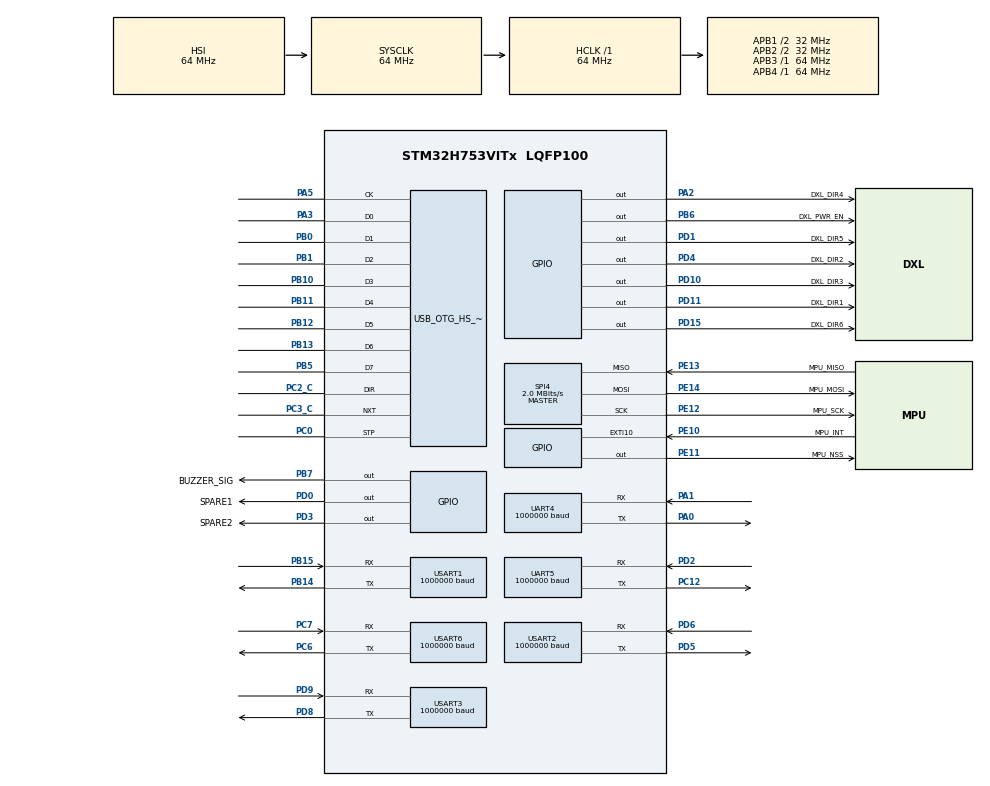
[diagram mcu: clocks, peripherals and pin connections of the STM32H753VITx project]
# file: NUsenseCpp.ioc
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Dma.Request0=USART1_RX
Dma.Request1=USART1_TX
Dma.Request10=USART6_RX
Dma.Request11=USART6_TX
Dma.Request2=USART2_RX
Dma.Request3=USART2_TX
Dma.Request4=USART3_RX
Dma.Request5=USART3_TX
Dma.Request6=UART4_RX
Dma.Request7=UART4_TX
Dma.Request8=UART5_RX
Dma.Request9=UART5_TX
Dma.UART4_RX.6.Direction=DMA_PERIPH_TO_MEMORY
Dma.UART4_RX.6.EventEnable=DISABLE
Dma.UART4_RX.6.FIFOMode=DMA_FIFOMODE_DISABLE
Dma.UART4_RX.6.Instance=DMA1_Stream6
Dma.UART4_RX.6.MemDataAlignment=DMA_MDATAALIGN_BYTE
Dma.UART4_RX.6.MemInc=DMA_MINC_ENABLE
Dma.UART4_RX.6.Mode=DMA_CIRCULAR
Dma.UART4_RX.6.PeriphDataAlignment=DMA_PDATAALIGN_BYTE
Dma.UART4_RX.6.PeriphInc=DMA_PINC_DISABLE
Dma.UART4_RX.6.Polarity=HAL_DMAMUX_REQ_GEN_RISING
Dma.UART4_RX.6.Priority=DMA_PRIORITY_HIGH
Dma.UART4_RX.6.RequestNumber=1
Dma.UART4_RX.6.SignalID=NONE
Dma.UART4_RX.6.SyncEnable=DISABLE
Dma.UART4_RX.6.SyncPolarity=HAL_DMAMUX_SYNC_NO_EVENT
Dma.UART4_RX.6.SyncRequestNumber=1
Dma.UART4_RX.6.SyncSignalID=NONE
Dma.UART4_TX.7.Direction=DMA_MEMORY_TO_PERIPH
Dma.UART4_TX.7.EventEnable=DISABLE
Dma.UART4_TX.7.FIFOMode=DMA_FIFOMODE_DISABLE
Dma.UART4_TX.7.Instance=DMA1_Stream7
Dma.UART4_TX.7.MemDataAlignment=DMA_MDATAALIGN_BYTE
Dma.UART4_TX.7.MemInc=DMA_MINC_ENABLE
Dma.UART4_TX.7.Mode=DMA_NORMAL
Dma.UART4_TX.7.PeriphDataAlignment=DMA_PDATAALIGN_BYTE
Dma.UART4_TX.7.PeriphInc=DMA_PINC_DISABLE
Dma.UART4_TX.7.Polarity=HAL_DMAMUX_REQ_GEN_RISING
Dma.UART4_TX.7.Priority=DMA_PRIORITY_HIGH
Dma.UART4_TX.7.RequestNumber=1
Dma.UART4_TX.7.SignalID=NONE
Dma.UART4_TX.7.SyncEnable=DISABLE
Dma.UART4_TX.7.SyncPolarity=HAL_DMAMUX_SYNC_NO_EVENT
Dma.UART4_TX.7.SyncRequestNumber=1
Dma.UART4_TX.7.SyncSignalID=NONE
Dma.UART5_RX.8.Direction=DMA_PERIPH_TO_MEMORY
Dma.UART5_RX.8.EventEnable=DISABLE
Dma.UART5_RX.8.FIFOMode=DMA_FIFOMODE_DISABLE
Dma.UART5_RX.8.Instance=DMA2_Stream0
Dma.UART5_RX.8.MemDataAlignment=DMA_MDATAALIGN_BYTE
Dma.UART5_RX.8.MemInc=DMA_MINC_ENABLE
Dma.UART5_RX.8.Mode=DMA_CIRCULAR
Dma.UART5_RX.8.PeriphDataAlignment=DMA_PDATAALIGN_BYTE
Dma.UART5_RX.8.PeriphInc=DMA_PINC_DISABLE
Dma.UART5_RX.8.Polarity=HAL_DMAMUX_REQ_GEN_RISING
Dma.UART5_RX.8.Priority=DMA_PRIORITY_HIGH
Dma.UART5_RX.8.RequestNumber=1
Dma.UART5_RX.8.SignalID=NONE
Dma.UART5_RX.8.SyncEnable=DISABLE
Dma.UART5_RX.8.SyncPolarity=HAL_DMAMUX_SYNC_NO_EVENT
Dma.UART5_RX.8.SyncRequestNumber=1
Dma.UART5_RX.8.SyncSignalID=NONE
Dma.UART5_TX.9.Direction=DMA_MEMORY_TO_PERIPH
Dma.UART5_TX.9.EventEnable=DISABLE
Dma.UART5_TX.9.FIFOMode=DMA_FIFOMODE_DISABLE
Dma.UART5_TX.9.Instance=DMA2_Stream1
Dma.UART5_TX.9.MemDataAlignment=DMA_MDATAALIGN_BYTE
Dma.UART5_TX.9.MemInc=DMA_MINC_ENABLE
Dma.UART5_TX.9.Mode=DMA_NORMAL
Dma.UART5_TX.9.PeriphDataAlignment=DMA_PDATAALIGN_BYTE
Dma.UART5_TX.9.PeriphInc=DMA_PINC_DISABLE
Dma.UART5_TX.9.Polarity=HAL_DMAMUX_REQ_GEN_RISING
Dma.UART5_TX.9.Priority=DMA_PRIORITY_HIGH
Dma.UART5_TX.9.RequestNumber=1
Dma.UART5_TX.9.SignalID=NONE
Dma.UART5_TX.9.SyncEnable=DISABLE
Dma.UART5_TX.9.SyncPolarity=HAL_DMAMUX_SYNC_NO_EVENT
Dma.UART5_TX.9.SyncRequestNumber=1
Dma.UART5_TX.9.SyncSignalID=NONE
Dma.USART1_RX.0.Direction=DMA_PERIPH_TO_MEMORY
Dma.USART1_RX.0.EventEnable=DISABLE
Dma.USART1_RX.0.FIFOMode=DMA_FIFOMODE_DISABLE
Dma.USART1_RX.0.Instance=DMA1_Stream0
Dma.USART1_RX.0.MemDataAlignment=DMA_MDATAALIGN_BYTE
Dma.USART1_RX.0.MemInc=DMA_MINC_ENABLE
Dma.USART1_RX.0.Mode=DMA_CIRCULAR
Dma.USART1_RX.0.PeriphDataAlignment=DMA_PDATAALIGN_BYTE
Dma.USART1_RX.0.PeriphInc=DMA_PINC_DISABLE
Dma.USART1_RX.0.Polarity=HAL_DMAMUX_REQ_GEN_RISING
Dma.USART1_RX.0.Priority=DMA_PRIORITY_HIGH
Dma.USART1_RX.0.RequestNumber=1
Dma.USART1_RX.0.SignalID=NONE
Dma.USART1_RX.0.SyncEnable=DISABLE
Dma.USART1_RX.0.SyncPolarity=HAL_DMAMUX_SYNC_NO_EVENT
Dma.USART1_RX.0.SyncRequestNumber=1
Dma.USART1_RX.0.SyncSignalID=NONE
Dma.USART1_TX.1.Direction=DMA_MEMORY_TO_PERIPH
Dma.USART1_TX.1.EventEnable=DISABLE
Dma.USART1_TX.1.FIFOMode=DMA_FIFOMODE_DISABLE
Dma.USART1_TX.1.Instance=DMA1_Stream1
Dma.USART1_TX.1.MemDataAlignment=DMA_MDATAALIGN_BYTE
Dma.USART1_TX.1.MemInc=DMA_MINC_ENABLE
Dma.USART1_TX.1.Mode=DMA_NORMAL
Dma.USART1_TX.1.PeriphDataAlignment=DMA_PDATAALIGN_BYTE
Dma.USART1_TX.1.PeriphInc=DMA_PINC_DISABLE
Dma.USART1_TX.1.Polarity=HAL_DMAMUX_REQ_GEN_RISING
Dma.USART1_TX.1.Priority=DMA_PRIORITY_HIGH
Dma.USART1_TX.1.RequestNumber=1
Dma.USART1_TX.1.SignalID=NONE
Dma.USART1_TX.1.SyncEnable=ENABLE
Dma.USART1_TX.1.SyncPolarity=HAL_DMAMUX_SYNC_RISING
Dma.USART1_TX.1.SyncRequestNumber=1
Dma.USART1_TX.1.SyncSignalID=NONE
Dma.USART2_RX.2.Direction=DMA_PERIPH_TO_MEMORY
Dma.USART2_RX.2.EventEnable=DISABLE
Dma.USART2_RX.2.FIFOMode=DMA_FIFOMODE_DISABLE
Dma.USART2_RX.2.Instance=DMA1_Stream2
Dma.USART2_RX.2.MemDataAlignment=DMA_MDATAALIGN_BYTE
Dma.USART2_RX.2.MemInc=DMA_MINC_ENABLE
Dma.USART2_RX.2.Mode=DMA_CIRCULAR
Dma.USART2_RX.2.PeriphDataAlignment=DMA_PDATAALIGN_BYTE
Dma.USART2_RX.2.PeriphInc=DMA_PINC_DISABLE
Dma.USART2_RX.2.Polarity=HAL_DMAMUX_REQ_GEN_RISING
Dma.USART2_RX.2.Priority=DMA_PRIORITY_HIGH
Dma.USART2_RX.2.RequestNumber=1
Dma.USART2_RX.2.SignalID=NONE
Dma.USART2_RX.2.SyncEnable=DISABLE
Dma.USART2_RX.2.SyncPolarity=HAL_DMAMUX_SYNC_NO_EVENT
Dma.USART2_RX.2.SyncRequestNumber=1
Dma.USART2_RX.2.SyncSignalID=NONE
Dma.USART2_TX.3.Direction=DMA_MEMORY_TO_PERIPH
Dma.USART2_TX.3.EventEnable=DISABLE
Dma.USART2_TX.3.FIFOMode=DMA_FIFOMODE_DISABLE
Dma.USART2_TX.3.Instance=DMA1_Stream3
Dma.USART2_TX.3.MemDataAlignment=DMA_MDATAALIGN_BYTE
Dma.USART2_TX.3.MemInc=DMA_MINC_ENABLE
Dma.USART2_TX.3.Mode=DMA_NORMAL
Dma.USART2_TX.3.PeriphDataAlignment=DMA_PDATAALIGN_BYTE
Dma.USART2_TX.3.PeriphInc=DMA_PINC_DISABLE
Dma.USART2_TX.3.Polarity=HAL_DMAMUX_REQ_GEN_RISING
Dma.USART2_TX.3.Priority=DMA_PRIORITY_HIGH
Dma.USART2_TX.3.RequestNumber=1
Dma.USART2_TX.3.SignalID=NONE
Dma.USART2_TX.3.SyncEnable=DISABLE
Dma.USART2_TX.3.SyncPolarity=HAL_DMAMUX_SYNC_NO_EVENT
Dma.USART2_TX.3.SyncRequestNumber=1
Dma.USART2_TX.3.SyncSignalID=NONE
Dma.USART3_RX.4.Direction=DMA_PERIPH_TO_MEMORY
Dma.USART3_RX.4.EventEnable=DISABLE
Dma.USART3_RX.4.FIFOMode=DMA_FIFOMODE_DISABLE
Dma.USART3_RX.4.Instance=DMA1_Stream4
Dma.USART3_RX.4.MemDataAlignment=DMA_MDATAALIGN_BYTE
Dma.USART3_RX.4.MemInc=DMA_MINC_ENABLE
Dma.USART3_RX.4.Mode=DMA_CIRCULAR
Dma.USART3_RX.4.PeriphDataAlignment=DMA_PDATAALIGN_BYTE
Dma.USART3_RX.4.PeriphInc=DMA_PINC_DISABLE
Dma.USART3_RX.4.Polarity=HAL_DMAMUX_REQ_GEN_RISING
Dma.USART3_RX.4.Priority=DMA_PRIORITY_HIGH
Dma.USART3_RX.4.RequestNumber=1
Dma.USART3_RX.4.SignalID=NONE
Dma.USART3_RX.4.SyncEnable=DISABLE
Dma.USART3_RX.4.SyncPolarity=HAL_DMAMUX_SYNC_NO_EVENT
Dma.USART3_RX.4.SyncRequestNumber=1
Dma.USART3_RX.4.SyncSignalID=NONE
Dma.USART3_TX.5.Direction=DMA_MEMORY_TO_PERIPH
Dma.USART3_TX.5.EventEnable=DISABLE
Dma.USART3_TX.5.FIFOMode=DMA_FIFOMODE_DISABLE
Dma.USART3_TX.5.Instance=DMA1_Stream5
Dma.USART3_TX.5.MemDataAlignment=DMA_MDATAALIGN_BYTE
Dma.USART3_TX.5.MemInc=DMA_MINC_ENABLE
Dma.USART3_TX.5.Mode=DMA_NORMAL
Dma.USART3_TX.5.PeriphDataAlignment=DMA_PDATAALIGN_BYTE
Dma.USART3_TX.5.PeriphInc=DMA_PINC_DISABLE
Dma.USART3_TX.5.Polarity=HAL_DMAMUX_REQ_GEN_RISING
Dma.USART3_TX.5.Priority=DMA_PRIORITY_HIGH
Dma.USART3_TX.5.RequestNumber=1
Dma.USART3_TX.5.SignalID=NONE
Dma.USART3_TX.5.SyncEnable=DISABLE
Dma.USART3_TX.5.SyncPolarity=HAL_DMAMUX_SYNC_NO_EVENT
Dma.USART3_TX.5.SyncRequestNumber=1
Dma.USART3_TX.5.SyncSignalID=NONE
Dma.USART6_RX.10.Direction=DMA_PERIPH_TO_MEMORY
Dma.USART6_RX.10.EventEnable=DISABLE
Dma.USART6_RX.10.FIFOMode=DMA_FIFOMODE_DISABLE
Dma.USART6_RX.10.Instance=DMA2_Stream2
Dma.USART6_RX.10.MemDataAlignment=DMA_MDATAALIGN_BYTE
Dma.USART6_RX.10.MemInc=DMA_MINC_ENABLE
Dma.USART6_RX.10.Mode=DMA_CIRCULAR
Dma.USART6_RX.10.PeriphDataAlignment=DMA_PDATAALIGN_BYTE
Dma.USART6_RX.10.PeriphInc=DMA_PINC_DISABLE
Dma.USART6_RX.10.Polarity=HAL_DMAMUX_REQ_GEN_RISING
Dma.USART6_RX.10.Priority=DMA_PRIORITY_HIGH
Dma.USART6_RX.10.RequestNumber=1
Dma.USART6_RX.10.SignalID=NONE
Dma.USART6_RX.10.SyncEnable=DISABLE
Dma.USART6_RX.10.SyncPolarity=HAL_DMAMUX_SYNC_NO_EVENT
Dma.USART6_RX.10.SyncRequestNumber=1
Dma.USART6_RX.10.SyncSignalID=NONE
Dma.USART6_TX.11.Direction=DMA_MEMORY_TO_PERIPH
Dma.USART6_TX.11.EventEnable=DISABLE
Dma.USART6_TX.11.FIFOMode=DMA_FIFOMODE_DISABLE
Dma.USART6_TX.11.Instance=DMA2_Stream3
Dma.USART6_TX.11.MemDataAlignment=DMA_MDATAALIGN_BYTE
Dma.USART6_TX.11.MemInc=DMA_MINC_ENABLE
Dma.USART6_TX.11.Mode=DMA_NORMAL
Dma.USART6_TX.11.PeriphDataAlignment=DMA_PDATAALIGN_BYTE
Dma.USART6_TX.11.PeriphInc=DMA_PINC_DISABLE
Dma.USART6_TX.11.Polarity=HAL_DMAMUX_REQ_GEN_RISING
Dma.USART6_TX.11.Priority=DMA_PRIORITY_HIGH
Dma.USART6_TX.11.RequestNumber=1
Dma.USART6_TX.11.SignalID=NONE
Dma.USART6_TX.11.SyncEnable=DISABLE
Dma.USART6_TX.11.SyncPolarity=HAL_DMAMUX_SYNC_NO_EVENT
Dma.USART6_TX.11.SyncRequestNumber=1
Dma.USART6_TX.11.SyncSignalID=NONE
Mcu.Family=STM32H7
Mcu.Name=STM32H753VITx
Mcu.Package=LQFP100
NVIC.DMA1_Stream0_IRQn=true\:0\:0\:false\:false\:true\:false\:true\:true
NVIC.DMA1_Stream1_IRQn=true\:0\:0\:false\:false\:true\:false\:true\:true
NVIC.DMA1_Stream2_IRQn=true\:0\:0\:false\:false\:true\:false\:true\:true
NVIC.DMA1_Stream3_IRQn=true\:0\:0\:false\:false\:true\:false\:true\:true
NVIC.DMA1_Stream4_IRQn=true\:0\:0\:false\:false\:true\:false\:true\:true
NVIC.DMA1_Stream5_IRQn=true\:0\:0\:false\:false\:true\:false\:true\:true
NVIC.DMA1_Stream6_IRQn=true\:0\:0\:false\:false\:true\:false\:true\:true
NVIC.DMA1_Stream7_IRQn=true\:0\:0\:false\:false\:true\:false\:true\:true
NVIC.DMA2_Stream0_IRQn=true\:0\:0\:false\:false\:true\:false\:true\:true
NVIC.DMA2_Stream1_IRQn=true\:0\:0\:false\:false\:true\:false\:true\:true
NVIC.DMA2_Stream2_IRQn=true\:0\:0\:false\:false\:true\:false\:true\:true
NVIC.DMA2_Stream3_IRQn=true\:0\:0\:false\:false\:true\:false\:true\:true
NVIC.DMAMUX1_OVR_IRQn=true\:0\:0\:false\:false\:true\:false\:true\:true
NVIC.EXTI15_10_IRQn=true\:0\:0\:false\:false\:true\:true\:true\:true
NVIC.OTG_HS_IRQn=true\:0\:0\:false\:false\:true\:false\:true\:true
NVIC.PriorityGroup=NVIC_PRIORITYGROUP_4
NVIC.SPI4_IRQn=true\:0\:0\:false\:false\:true\:true\:true\:true
NVIC.UART4_IRQn=true\:0\:0\:false\:false\:true\:true\:true\:true
NVIC.UART5_IRQn=true\:0\:0\:false\:false\:true\:true\:true\:true
NVIC.USART1_IRQn=true\:0\:0\:false\:false\:true\:true\:true\:true
NVIC.USART2_IRQn=true\:0\:0\:false\:false\:true\:true\:true\:true
NVIC.USART3_IRQn=true\:0\:0\:false\:false\:true\:true\:true\:true
NVIC.USART6_IRQn=true\:0\:0\:false\:false\:true\:true\:true\:true
PA0.Mode=Asynchronous
PA0.Signal=UART4_TX
PA1.Mode=Asynchronous
PA1.Signal=UART4_RX
PA13\ (JTMS/SWDIO).Mode=Serial_Wire
PA13\ (JTMS/SWDIO).Signal=DEBUG_JTMS-SWDIO
PA14\ (JTCK/SWCLK).Mode=Serial_Wire
PA14\ (JTCK/SWCLK).Signal=DEBUG_JTCK-SWCLK
PA2.GPIO_Label=DXL_DIR4
PA2.PinState=GPIO_PIN_RESET
PA2.Signal=GPIO_Output
PA3.Mode=Device_HS
PA3.Signal=USB_OTG_HS_ULPI_D0
PA5.Mode=Device_HS
PA5.Signal=USB_OTG_HS_ULPI_CK
PB0.Mode=Device_HS
PB0.Signal=USB_OTG_HS_ULPI_D1
PB1.Mode=Device_HS
PB1.Signal=USB_OTG_HS_ULPI_D2
PB10.Mode=Device_HS
PB10.Signal=USB_OTG_HS_ULPI_D3
PB11.Mode=Device_HS
PB11.Signal=USB_OTG_HS_ULPI_D4
PB12.Mode=Device_HS
PB12.Signal=USB_OTG_HS_ULPI_D5
PB13.Mode=Device_HS
PB13.Signal=USB_OTG_HS_ULPI_D6
PB14.Mode=Asynchronous
PB14.Signal=USART1_TX
PB15.Mode=Asynchronous
PB15.Signal=USART1_RX
PB5.Mode=Device_HS
PB5.Signal=USB_OTG_HS_ULPI_D7
PB6.GPIO_Label=DXL_PWR_EN
PB6.PinState=GPIO_PIN_RESET
PB6.Signal=GPIO_Output
PB7.GPIO_Label=BUZZER_SIG
PB7.PinState=GPIO_PIN_RESET
PB7.Signal=GPIO_Output
PC0.Mode=Device_HS
PC0.Signal=USB_OTG_HS_ULPI_STP
PC12.Mode=Asynchronous
PC12.Signal=UART5_TX
PC2_C.Mode=Device_HS
PC2_C.Signal=USB_OTG_HS_ULPI_DIR
PC3_C.Mode=Device_HS
PC3_C.Signal=USB_OTG_HS_ULPI_NXT
PC6.Mode=Asynchronous
PC6.Signal=USART6_TX
PC7.Mode=Asynchronous
PC7.Signal=USART6_RX
PD0.GPIO_Label=SPARE1
PD0.Signal=GPIO_Output
PD1.GPIO_Label=DXL_DIR5
PD1.PinState=GPIO_PIN_RESET
PD1.Signal=GPIO_Output
PD10.GPIO_Label=DXL_DIR3
PD10.PinState=GPIO_PIN_RESET
PD10.Signal=GPIO_Output
PD11.GPIO_Label=DXL_DIR1
PD11.PinState=GPIO_PIN_RESET
PD11.Signal=GPIO_Output
PD15.GPIO_Label=DXL_DIR6
PD15.PinState=GPIO_PIN_RESET
PD15.Signal=GPIO_Output
PD2.Mode=Asynchronous
PD2.Signal=UART5_RX
PD3.GPIO_Label=SPARE2
PD3.Signal=GPIO_Output
PD4.GPIO_Label=DXL_DIR2
PD4.PinState=GPIO_PIN_RESET
PD4.Signal=GPIO_Output
PD5.Mode=Asynchronous
PD5.Signal=USART2_TX
PD6.Mode=Asynchronous
PD6.Signal=USART2_RX
PD8.Mode=Asynchronous
PD8.Signal=USART3_TX
PD9.Mode=Asynchronous
PD9.Signal=USART3_RX
PE10.GPIO_Label=MPU_INT
PE10.Signal=GPXTI10
PE11.GPIO_Label=MPU_NSS
PE11.Signal=GPIO_Output
PE12.GPIO_Label=MPU_SCK
PE12.Mode=Full_Duplex_Master
PE12.Signal=SPI4_SCK
PE13.GPIO_Label=MPU_MISO
PE13.Mode=Full_Duplex_Master
PE13.Signal=SPI4_MISO
PE14.GPIO_Label=MPU_MOSI
PE14.Mode=Full_Duplex_Master
PE14.Signal=SPI4_MOSI
ProjectManager.HeapSize=0x200
ProjectManager.StackSize=0x400
ProjectManager.TargetToolchain=STM32CubeIDE
RCC.ADCFreq_Value=129000000
RCC.APB1Freq_Value=32000000
RCC.APB2Freq_Value=32000000
RCC.APB3Freq_Value=64000000
RCC.APB4Freq_Value=64000000
RCC.CortexFreq_Value=64000000
RCC.D2PPRE1=RCC_APB1_DIV2
RCC.D2PPRE2=RCC_APB2_DIV2
RCC.HCLKFreq_Value=64000000
RCC.SYSCLKFreq_VALUE=64000000
RCC.USBCLockSelection=RCC_USBCLKSOURCE_HSI48
RCC.USBFreq_Value=48000000
SPI4.BaudRatePrescaler=SPI_BAUDRATEPRESCALER_16
SPI4.CLKPhase=SPI_PHASE_2EDGE
SPI4.CLKPolarity=SPI_POLARITY_HIGH
SPI4.CalculateBaudRate=2.0 MBits/s
SPI4.DataSize=SPI_DATASIZE_8BIT
SPI4.Direction=SPI_DIRECTION_2LINES
SPI4.Mode=SPI_MODE_MASTER
SPI4.TIMode=SPI_TIMODE_DISABLE
SPI4.VirtualType=VM_MASTER
UART4.BaudRate=1000000
UART5.BaudRate=1000000
USART1.BaudRate=1000000
USART1.FIFOMode=FIFOMODE_DISABLE
USART1.VirtualMode-Asynchronous=VM_ASYNC
USART2.BaudRate=1000000
USART2.VirtualMode-Asynchronous=VM_ASYNC
USART3.BaudRate=1000000
USART3.VirtualMode-Asynchronous=VM_ASYNC
USART6.BaudRate=1000000
USART6.VirtualMode=VM_ASYNC
USB_DEVICE.CLASS_NAME_HS=CDC
USB_DEVICE.VirtualMode-CDC_HS=Cdc
USB_DEVICE.VirtualModeHS=Cdc_HS
USB_OTG_HS.VirtualMode-Device_HS=Device_HS
VP_USB_DEVICE_VS_USB_DEVICE_CDC_HS.Mode=CDC_HS
board=custom

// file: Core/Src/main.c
/* USER CODE BEGIN Header */
/**
  ******************************************************************************
  * @file           : main.c
  * @brief          : Main program body
  ******************************************************************************
  * @attention
  *
  * Copyright (c) 2022 STMicroelectronics.
  * All rights reserved.
  *
  * This software is licensed under terms that can be found in the LICENSE file
  * in the root directory of this software component.
  * If no LICENSE file comes with this software, it is provided AS-IS.
  *
  ******************************************************************************
  */
/* USER CODE END Header */
#include "main.h"
#include "spi.h"
#include "usart.h"
#include "usb_device.h"
#include "gpio.h"

/* USER CODE BEGIN Includes */
#include "settings.h"
#include "rs485.h"
#include "usbd_cdc_if.h"

/* USER CODE END Includes */

void SystemClock_Config(void);

int main(void)
{

  /* MCU Configuration--------------------------------------------------------*/

  /* Reset of all peripherals, Initializes the Flash interface and the Systick. */
  HAL_Init();

  /* Configure the system clock */
  SystemClock_Config();

  /* Initialize all configured peripherals */
  MX_GPIO_Init();
  MX_USB_DEVICE_Init();
  MX_SPI4_Init();
  MX_UART4_Init();
  MX_UART5_Init();
  MX_USART1_UART_Init();
  MX_USART2_UART_Init();
  MX_USART3_UART_Init();
  MX_USART6_UART_Init();
  /* USER CODE BEGIN 2 */

#ifdef FIRST_BUZZ
  //Confirm that the programme is running.
  HAL_GPIO_WritePin(BUZZER_SIG_GPIO_Port, BUZZER_SIG_Pin, GPIO_PIN_SET);
  HAL_Delay(500);
  HAL_GPIO_WritePin(BUZZER_SIG_GPIO_Port, BUZZER_SIG_Pin, GPIO_PIN_RESET);
#endif

#ifdef DXL_PWR
  // Set the Dynamixel power on.
  HAL_GPIO_WritePin(DXL_PWR_EN_GPIO_Port, DXL_PWR_EN_Pin, GPIO_PIN_SET);
#endif

  /* USER CODE END 2 */

  /* Infinite loop */
  /* USER CODE BEGIN WHILE */

#ifdef TEST_UART
  // This example in interrupt-mode is not the most efficient one.
  // It freezes when it is bombarded with characters with no other delay in the main loop.
  // This bug needs further investigation.
  char test_uart_char = 'x';
  UART_HandleTypeDef* p_test_huart = &huart1;
  uint16_t test_uart_it_rx_mask = UART1_RX;
  uint16_t test_uart_it_tx_mask = UART1_TX;
#if TEST_UART == 2
  p_test_huart = &huart2; test_uart_it_rx_mask = UART2_RX; test_uart_it_rx_mask = UART2_TX;
#endif
#if TEST_UART == 3
  p_test_huart = &huart3; test_uart_it_rx_mask = UART3_RX; test_uart_it_rx_mask = UART3_TX;
#endif
#if TEST_UART == 4
  p_test_huart = &huart4; test_uart_it_rx_mask = UART4_RX; test_uart_it_rx_mask = UART4_TX;
#endif
#if TEST_UART == 5
  p_test_huart = &huart5; test_uart_it_rx_mask = UART5_RX; test_uart_it_rx_mask = UART5_TX;
#endif
#if TEST_UART == 6
  p_test_huart = &huart6; test_uart_it_rx_mask = UART6_RX; test_uart_it_rx_mask = UART6_TX;
#endif
  // Wait for the first packet.
  RS485_Receive_IT(p_test_huart, (uint8_t*)&test_uart_char, 1);
  //RS485_Receive(p_test_huart, (uint8_t*)&test_uart_char, 1, HAL_MAX_DELAY);
#endif

#ifdef TEST_USB
  char test_usb_str_buffer[] = "NUsense = nuisance!\r\n";
#endif

  while (1)
  {
    /* USER CODE END WHILE */
#ifdef TEST_UART
	// Echo whatever is received on the test UART.
	// If a packet has been received, then receive the next one.
	if (uart_it_flags & test_uart_it_rx_mask) {
		RS485_Transmit_IT(p_test_huart, (uint8_t*)&test_uart_char, 1);
		uart_it_flags &= ~test_uart_it_rx_mask;
		//HAL_GPIO_WritePin(BUZZER_SIG_GPIO_Port, BUZZER_SIG_Pin, GPIO_PIN_SET);
		//HAL_Delay(500);
		//HAL_GPIO_WritePin(BUZZER_SIG_GPIO_Port, BUZZER_SIG_Pin, GPIO_PIN_RESET);
	}
	//RS485_Transmit(p_test_huart, (uint8_t*)&test_uart_char, 1, HAL_MAX_DELAY);
	// If a packet has been sent, then send the next one.
	if (uart_it_flags & test_uart_it_tx_mask) {
		RS485_Receive_IT(p_test_huart, (uint8_t*)&test_uart_char, 1);
		uart_it_flags &= ~test_uart_it_tx_mask;
	}
	//RS485_Receive(p_test_huart, (uint8_t*)&test_uart_char, 1, HAL_MAX_DELAY);
#endif

#ifdef TEST_USB
	CDC_Transmit_HS((uint8_t*)test_usb_str_buffer, strlen(test_usb_str_buffer));
#endif

#ifdef TEST_IMU

#endif

  }
}

void SystemClock_Config(void)
{
  RCC_OscInitTypeDef RCC_OscInitStruct = {0};
  RCC_ClkInitTypeDef RCC_ClkInitStruct = {0};

  /** Supply configuration update enable
  */
  HAL_PWREx_ConfigSupply(PWR_LDO_SUPPLY);

  /** Configure the main internal regulator output voltage
  */
  __HAL_PWR_VOLTAGESCALING_CONFIG(PWR_REGULATOR_VOLTAGE_SCALE3);

  while(!__HAL_PWR_GET_FLAG(PWR_FLAG_VOSRDY)) {}

  /** Initializes the RCC Oscillators according to the specified parameters
  * in the RCC_OscInitTypeDef structure.
  */
  RCC_OscInitStruct.OscillatorType = RCC_OSCILLATORTYPE_HSI48|RCC_OSCILLATORTYPE_HSI;
  RCC_OscInitStruct.HSIState = RCC_HSI_DIV1;
  RCC_OscInitStruct.HSICalibrationValue = RCC_HSICALIBRATION_DEFAULT;
  RCC_OscInitStruct.HSI48State = RCC_HSI48_ON;
  RCC_OscInitStruct.PLL.PLLState = RCC_PLL_NONE;
  if (HAL_RCC_OscConfig(&RCC_OscInitStruct) != HAL_OK)
  {
    Error_Handler();
  }

  /** Initializes the CPU, AHB and APB buses clocks
  */
  RCC_ClkInitStruct.ClockType = RCC_CLOCKTYPE_HCLK|RCC_CLOCKTYPE_SYSCLK
                              |RCC_CLOCKTYPE_PCLK1|RCC_CLOCKTYPE_PCLK2
                              |RCC_CLOCKTYPE_D3PCLK1|RCC_CLOCKTYPE_D1PCLK1;
  RCC_ClkInitStruct.SYSCLKSource = RCC_SYSCLKSOURCE_HSI;
  RCC_ClkInitStruct.SYSCLKDivider = RCC_SYSCLK_DIV1;
  RCC_ClkInitStruct.AHBCLKDivider = RCC_HCLK_DIV1;
  RCC_ClkInitStruct.APB3CLKDivider = RCC_APB3_DIV1;
  RCC_ClkInitStruct.APB1CLKDivider = RCC_APB1_DIV2;
  RCC_ClkInitStruct.APB2CLKDivider = RCC_APB2_DIV2;
  RCC_ClkInitStruct.APB4CLKDivider = RCC_APB4_DIV1;

  if (HAL_RCC_ClockConfig(&RCC_ClkInitStruct, FLASH_LATENCY_1) != HAL_OK)
  {
    Error_Handler();
  }
}

void Error_Handler(void)
{
  __disable_irq();
  while (1)
  {
  }
}
